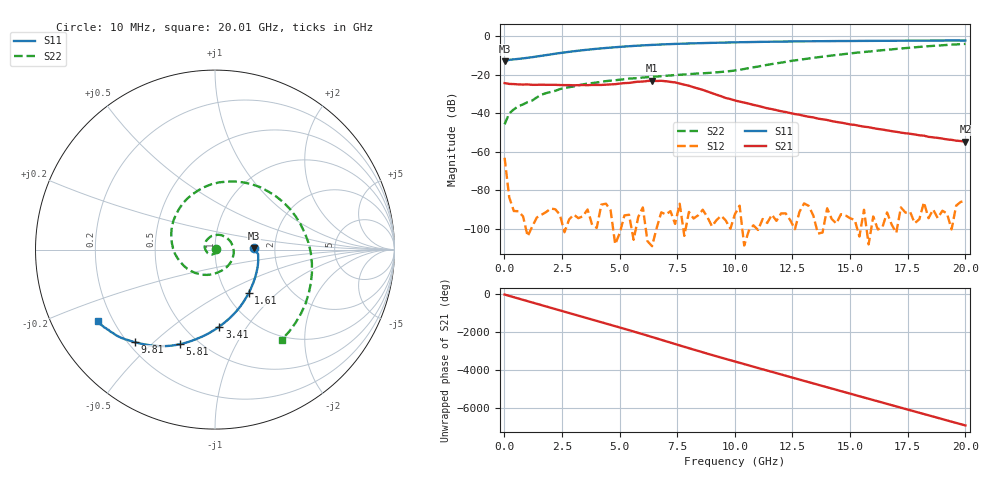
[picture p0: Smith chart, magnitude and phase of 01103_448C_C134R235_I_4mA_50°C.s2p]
!;Filter: kein Filter
!auto
!3/21/2019 9:25:24 AM
!3/21/2019 9:25:40 AM
!SP-Measurements Prober G4
!SP-Measurements Prober G4
!01103_448C
!134
!235
!12
!50
!-20
!0.00399976
!1.88
!0.54220246
!0.54220246
# Hz S  RI  R 50
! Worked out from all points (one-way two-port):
!   101 points, 10 MHz to 20.01 GHz, reference 50 ohm
!   highest |S21| = -23.20 dB at 6.41 GHz (marker M1); lowest = -54.8 dB at 20.01 GHz (marker M2)
!   lowest |S11| = -13.2 dB at 10 MHz (marker M3), VSWR 1.56, Z = 78 + j1.16 ohm
!   |S11| at or under -10 dB: start of sweep to 1.753 GHz
!   |S22| runs from -45.8 to -4.1 dB; largest |S21 - S12| = 0.069
!   S11 on the Smith chart (normalised r, x): 10 MHz: 1.56, +0.02; 1.61 GHz: 1.26, -0.68; 3.41 GHz: 0.72, -0.76; 5.81 GHz: 0.40, -0.62; 9.81 GHz: 0.23, -0.44; 20.01 GHz: 0.14, -0.28
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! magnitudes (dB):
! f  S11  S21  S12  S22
! 10 MHz  -13.2  -24.5  -63.2  -45.8
! 210 MHz  -12.3  -24.8  -83.7  -40.2
! 610 MHz  -11.9  -25.1  -90.9  -36.4
! 1.21 GHz  -11.0  -25.3  -98.8  -33.5
! 1.61 GHz  -10.3  -25.2  -92.8  -30.4
! 2.61 GHz  -8.5  -25.5  -101.8  -26.9
! 3.41 GHz  -7.3  -25.4  -93.6  -25.1
! 4.81 GHz  -5.8  -25.0  -108.1  -22.9
! 5.81 GHz  -5.0  -23.7  -93.9  -21.9
! 6.41 GHz  -4.6  -23.2  -109.1  -21.1
! 6.81 GHz  -4.4  -23.2  -91.5  -20.8
! 7.41 GHz  -4.1  -24.1  -97.5  -20.2
! 8.01 GHz  -3.9  -25.8  -91.3  -19.8
! 9.81 GHz  -3.3  -32.7  -100.1  -18.2
! 10.01 GHz  -3.3  -33.4  -92.4  -17.9
! 11.41 GHz  -3.0  -37.5  -97.0  -14.9
! 13.41 GHz  -2.7  -42.2  -93.2  -11.3
! 15.01 GHz  -2.6  -45.9  -94.6  -9.0
! 16.81 GHz  -2.4  -49.4  -97.9  -6.9
! 18.21 GHz  -2.4  -51.7  -86.3  -5.4
! 18.41 GHz  -2.4  -52.3  -94.6  -5.3
! 20.01 GHz  -2.3  -54.8  -85.6  -4.1
